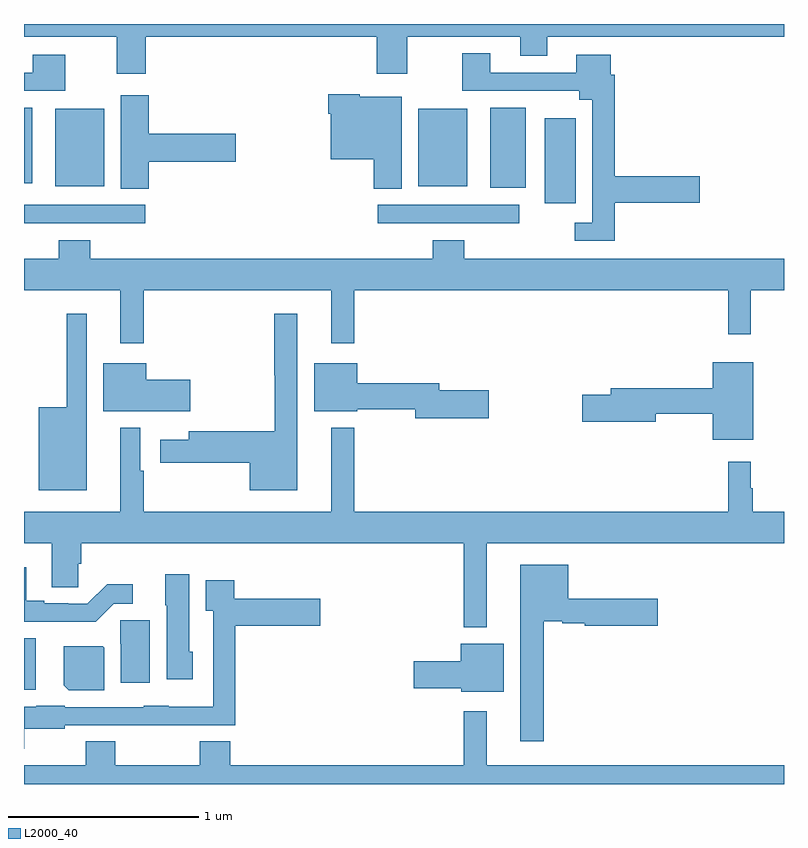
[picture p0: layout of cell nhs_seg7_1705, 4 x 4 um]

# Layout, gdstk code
import gdstk
lib = gdstk.Library(unit=1e-6, precision=1e-09)
def R(c, l, rs):  # rectangles x0, y0, x1, y1
    for r in rs: c.add(gdstk.rectangle(r[:2], r[2:], *l))
def P(c, l, *ps):  # polygons
    for p in ps: c.add(gdstk.Polygon(p, *l))
L2000_40 = (2000, 40)

nhs_seg7_1705 = lib.new_cell('nhs_seg7_1705')
R(nhs_seg7_1705, L2000_40, [(227,1014.497,227.062,1014.766), (227,1016.952,227.638,1017.048), (228.861,1016.952,229.606,1017.048), (229.742,1017.057,229.903,1017.505), (229.454,1017.137,229.642,1017.559), (227.165,1017.146,227.422,1017.553), (229.076,1017.146,229.333,1017.553), (227,1017.161,227.044,1017.559)])
P(nhs_seg7_1705, L2000_40, [(227.642,1017.932),(228.857,1017.932),(228.857,1017.738),(229.017,1017.738),(229.017,1017.932),(229.613,1017.932),(229.613,1017.833),(229.753,1017.833),(229.753,1017.932),(231,1017.932),(231,1018),(227,1018),(227,1017.932),(227.489,1017.932),(227.489,1017.738),(227.642,1017.738)],
  [(230.108,1017.058),(230.557,1017.058),(230.557,1017.2),(230.108,1017.2),(230.108,1017.734),(230.089,1017.734),(230.089,1017.838),(229.907,1017.838),(229.907,1017.744),(229.453,1017.744),(229.453,1017.847),(229.306,1017.847),(229.306,1017.648),(229.922,1017.648),(229.922,1017.602),(229.992,1017.602),(229.992,1016.955),(229.899,1016.955),(229.899,1016.859),(230.108,1016.859)],
  [(227.218,1017.838),(227.045,1017.838),(227.045,1017.744),(227,1017.744),(227,1017.648),(227.218,1017.648)],
  [(228.988,1017.616),(228.768,1017.616),(228.768,1017.631),(228.602,1017.631),(228.602,1017.527),(228.614,1017.527),(228.614,1017.287),(228.842,1017.287),(228.842,1017.133),(228.988,1017.133)],
  [(227.657,1017.275),(228.115,1017.275),(228.115,1017.422),(227.657,1017.422),(227.657,1017.625),(227.51,1017.625),(227.51,1017.133),(227.657,1017.133)],
  [(227.629,1016.6),(228.617,1016.6),(228.617,1016.319),(228.739,1016.319),(228.739,1016.6),(230.707,1016.6),(230.707,1016.367),(230.825,1016.367),(230.825,1016.6),(231,1016.6),(231,1016.764),(229.316,1016.764),(229.316,1016.863),(229.151,1016.863),(229.151,1016.764),(227.348,1016.764),(227.348,1016.863),(227.183,1016.863),(227.183,1016.764),(227,1016.764),(227,1016.6),(227.507,1016.6),(227.507,1016.319),(227.629,1016.319)],
  [(227.329,1016.476),(227.225,1016.476),(227.225,1015.984),(227.078,1015.984),(227.078,1015.547),(227.329,1015.547)],
  [(228.439,1016.476),(228.318,1016.476),(228.318,1016.151),(228.32,1016.151),(228.32,1015.856),(227.867,1015.856),(227.867,1015.813),(227.718,1015.813),(227.718,1015.691),(228.188,1015.691),(228.188,1015.547),(228.439,1015.547)],
  [(230.839,1016.221),(230.624,1016.221),(230.624,1016.084),(230.087,1016.084),(230.087,1016.048),(229.938,1016.048),(229.938,1015.906),(230.326,1015.906),(230.326,1015.948),(230.624,1015.948),(230.624,1015.811),(230.839,1015.811)],
  [(229.447,1016.072),(229.186,1016.072),(229.186,1016.108),(228.754,1016.108),(228.754,1016.215),(228.527,1016.215),(228.527,1015.961),(228.754,1015.961),(228.754,1015.972),(229.058,1015.972),(229.058,1015.925),(229.447,1015.925)],
  [(227.875,1016.127),(227.644,1016.127),(227.644,1016.215),(227.417,1016.215),(227.417,1015.961),(227.875,1015.961)],
  [(229.435,1015.268),(231,1015.268),(231,1015.432),(230.836,1015.432),(230.836,1015.556),(230.824,1015.556),(230.824,1015.696),(230.707,1015.696),(230.707,1015.432),(228.739,1015.432),(228.739,1015.876),(228.617,1015.876),(228.617,1015.432),(227.629,1015.432),(227.629,1015.649),(227.611,1015.649),(227.611,1015.876),(227.507,1015.876),(227.507,1015.432),(227,1015.432),(227,1015.268),(227.147,1015.268),(227.147,1015.036),(227.286,1015.036),(227.286,1015.158),(227.3,1015.158),(227.3,1015.268),(229.314,1015.268),(229.314,1014.824),(229.435,1014.824)],
  [(229.735,1014.857),(229.832,1014.857),(229.832,1014.845),(229.95,1014.845),(229.95,1014.833),(230.335,1014.833),(230.335,1014.975),(229.864,1014.975),(229.864,1015.153),(229.613,1015.153),(229.613,1014.225),(229.735,1014.225)],
  [(227.472,1014.948),(227.572,1014.948),(227.572,1015.051),(227.437,1015.051),(227.334,1014.948),(227.234,1014.948),(227.234,1014.951),(227.107,1014.951),(227.107,1014.964),(227.011,1014.964),(227.011,1015.141),(227,1015.141),(227,1014.854),(227.377,1014.854)],
  [(227.887,1014.696),(227.869,1014.696),(227.869,1015.105),(227.744,1015.105),(227.744,1014.942),(227.75,1014.942),(227.75,1014.552),(227.887,1014.552)],
  [(227.002,1014.29),(227.214,1014.29),(227.214,1014.309),(227.631,1014.309),(227.631,1014.308),(227.863,1014.308),(227.863,1014.309),(228.113,1014.309),(228.113,1014.833),(228.559,1014.833),(228.559,1014.975),(228.106,1014.975),(228.106,1015.072),(227.957,1015.072),(227.957,1014.911),(227.997,1014.911),(227.997,1014.406),(227.763,1014.406),(227.763,1014.412),(227.631,1014.412),(227.631,1014.405),(227.214,1014.405),(227.214,1014.412),(227.064,1014.412),(227.064,1014.406),(227,1014.406),(227,1014.185),(227.002,1014.185)],
  [(227.662,1014.861),(227.506,1014.861),(227.506,1014.738),(227.51,1014.738),(227.51,1014.534),(227.662,1014.534)],
  [(229.525,1014.739),(229.298,1014.739),(229.298,1014.647),(229.05,1014.647),(229.05,1014.505),(229.302,1014.505),(229.302,1014.485),(229.525,1014.485)],
  [(227.422,1014.716),(227.414,1014.724),(227.21,1014.724),(227.21,1014.52),(227.236,1014.494),(227.422,1014.494)],
  [(231,1014.1),(229.435,1014.1),(229.435,1014.382),(229.314,1014.382),(229.314,1014.1),(228.086,1014.1),(228.086,1014.224),(227.926,1014.224),(227.926,1014.1),(227.481,1014.1),(227.481,1014.224),(227.326,1014.224),(227.326,1014.1),(227,1014.1),(227,1014),(231,1014)])

lib.write_gds('nhs_seg7_1705.gds')
